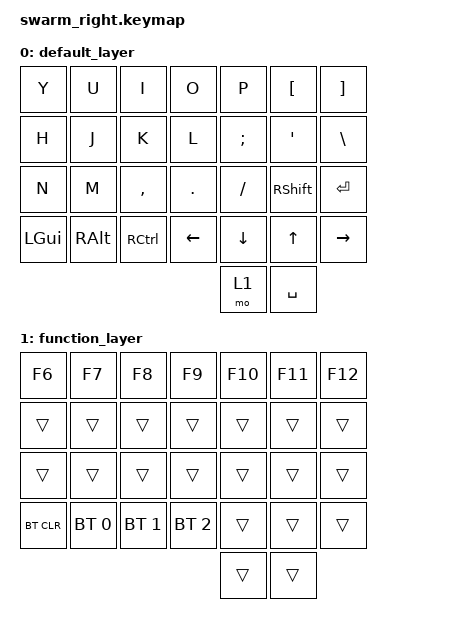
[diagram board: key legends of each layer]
/*
 * Swarm Keyboard Right - 30 key (7x4 + 2 thumb) keymap
 * 
 * Physical Layout:
 *   COL0  COL1  COL2  COL3  COL4  COL5  COL6
 *   [0]   [1]   [2]   [3]   [4]   [5]   [6]   ROW0
 *   [7]   [8]   [9]   [10]  [11]  [12]  [13]  ROW1
 *   [14]  [15]  [16]  [17]  [18]  [19]  [20]  ROW2
 *   [21]  [22]  [23]  [24]  [25]  [26]  [27]  ROW3
 *                           [28]  [29]        THUMB (on cols 5,6)
 */

#include <behaviors.dtsi>
#include <dt-bindings/zmk/keys.h>
#include <dt-bindings/zmk/bt.h>

/ {
    keymap {
        compatible = "zmk,keymap";

        default_layer {
            // Default QWERTY-ish layout (right half, adjust to your preference)
            bindings = <
                &kp Y     &kp U     &kp I     &kp O     &kp P     &kp LBKT  &kp RBKT
                &kp H     &kp J     &kp K     &kp L     &kp SEMI  &kp SQT   &kp BSLH
                &kp N     &kp M     &kp COMMA &kp DOT   &kp FSLH  &kp RSHFT &kp RET
                &kp LGUI  &kp RALT  &kp RCTRL &kp LEFT  &kp DOWN  &kp UP    &kp RIGHT
                                                        &mo 1     &kp SPACE
            >;
        };

        function_layer {
            // Function/Nav layer (activated by thumb key)
            bindings = <
                &kp F6    &kp F7    &kp F8    &kp F9    &kp F10   &kp F11   &kp F12
                &trans    &trans    &trans    &trans    &trans    &trans    &trans
                &trans    &trans    &trans    &trans    &trans    &trans    &trans
                &bt BT_CLR &bt BT_SEL 0 &bt BT_SEL 1 &bt BT_SEL 2 &trans &trans &trans
                                                        &trans    &trans
            >;
        };
    };
};
